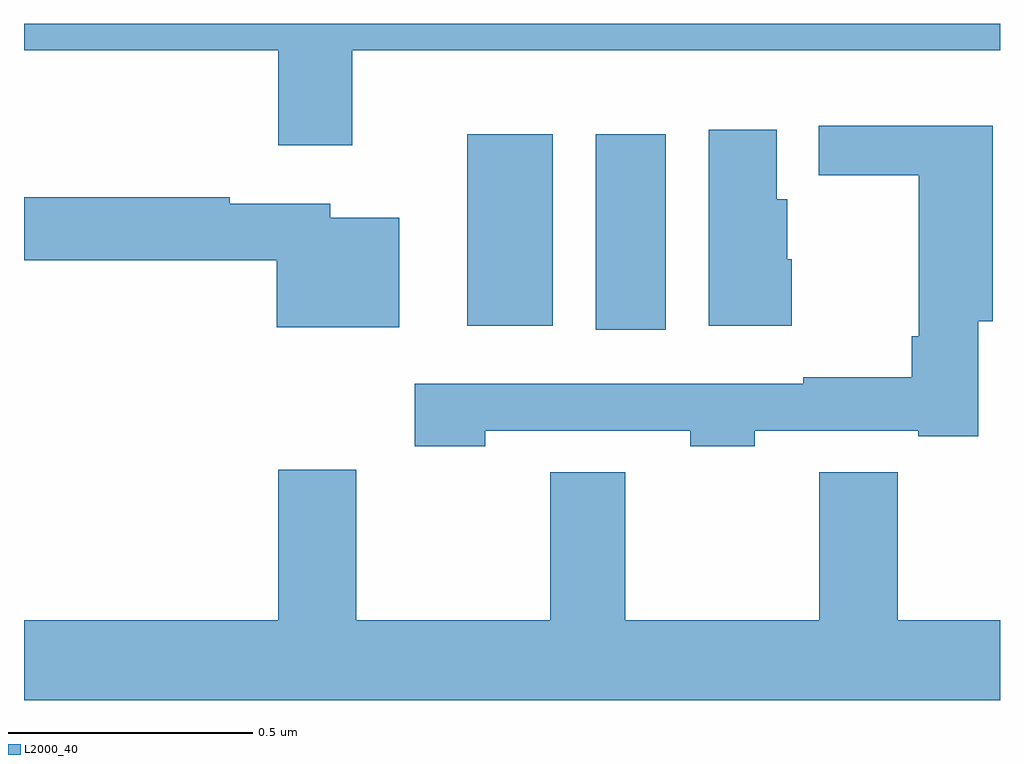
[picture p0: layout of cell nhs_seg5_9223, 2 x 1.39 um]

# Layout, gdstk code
import gdstk
lib = gdstk.Library(unit=1e-6, precision=1e-09)
def R(c, l, rs):  # rectangles x0, y0, x1, y1
    for r in rs: c.add(gdstk.rectangle(r[:2], r[2:], *l))
def P(c, l, *ps):  # polygons
    for p in ps: c.add(gdstk.Polygon(p, *l))
L2000_40 = (2000, 40)

nhs_seg5_9223 = lib.new_cell('nhs_seg5_9223')
R(nhs_seg5_9223, L2000_40, [(232.172,872.172,232.315,872.572), (231.908,872.18,232.084,872.572)])
P(nhs_seg5_9223, L2000_40, [(231.673,872.744),(233,872.744),(233,872.799),(231,872.799),(231,872.744),(231.521,872.744),(231.521,872.55),(231.673,872.55)],
  [(231.945,871.965),(232.365,871.965),(232.365,871.933),(232.497,871.933),(232.497,871.965),(232.832,871.965),(232.832,871.953),(232.955,871.953),(232.955,872.189),(232.985,872.189),(232.985,872.59),(232.629,872.59),(232.629,872.488),(232.834,872.488),(232.834,872.158),(232.819,872.158),(232.819,872.074),(232.597,872.074),(232.597,872.061),(231.801,872.061),(231.801,871.933),(231.945,871.933)],
  [(232.573,872.316),(232.564,872.316),(232.564,872.439),(232.543,872.439),(232.543,872.581),(232.403,872.581),(232.403,872.18),(232.573,872.18)],
  [(231.769,872.401),(231.628,872.401),(231.628,872.43),(231.422,872.43),(231.422,872.443),(231,872.443),(231,872.314),(231.518,872.314),(231.518,872.177),(231.769,872.177)],
  [(233,871.576),(232.79,871.576),(232.79,871.88),(232.63,871.88),(232.63,871.576),(232.232,871.576),(232.232,871.88),(232.078,871.88),(232.078,871.576),(231.681,871.576),(231.681,871.885),(231.521,871.885),(231.521,871.576),(231,871.576),(231,871.412),(233,871.412)])

lib.write_gds('nhs_seg5_9223.gds')
